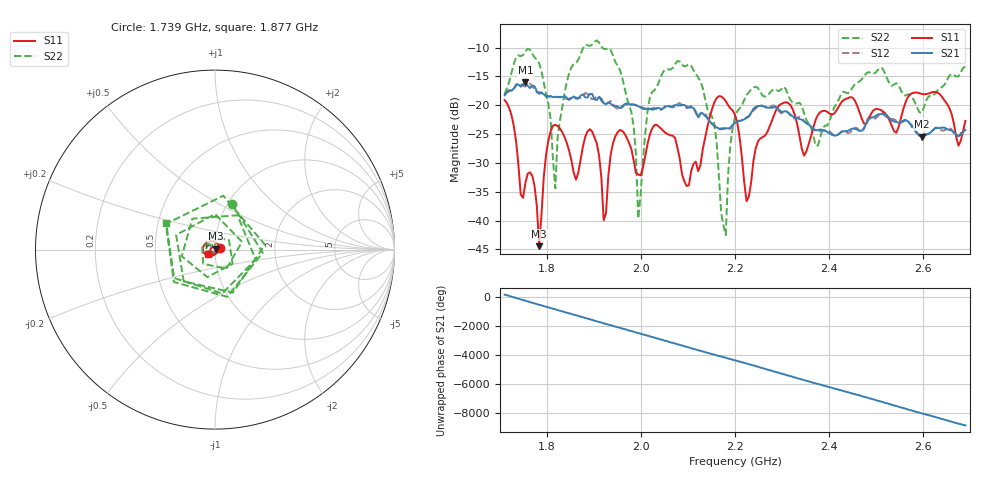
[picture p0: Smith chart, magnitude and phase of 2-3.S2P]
!Agilent Technologies,E5061B,MY49305579,A.02.22
!Date: Thu Aug 24 16:27:26 2017
!Data & Calibration Information:
!Freq	S11:SOLT2(ON)	S21:SOLT2(ON)	S12:SOLT2(ON)	S22:SOLT2(ON)
# Hz S dB R 50
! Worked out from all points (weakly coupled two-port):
!   201 points, 1.71 GHz to 2.69 GHz, reference 50 ohm
!   highest |S21| = -16.03 dB at 1.754 GHz (marker M1); lowest = -25.4 dB at 2.597 GHz (marker M2)
!   lowest |S11| = -44.4 dB at 1.784 GHz (marker M3), VSWR 1.01, Z = 50.4 + j0.449 ohm
!   |S11| at or under -10 dB: start of sweep to end of sweep
!   |S22| runs from -42.5 to -8.8 dB; largest |S21 - S12| = 0.014
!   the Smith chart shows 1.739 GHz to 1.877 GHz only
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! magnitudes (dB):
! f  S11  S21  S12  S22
! 1.71 GHz  -19.1  -18.3  -18.2  -18.1
! 1.754 GHz  -33.5  -16.0  -16.7  -10.7
! 1.784 GHz  -44.4  -18.0  -17.7  -12.7
! 1.818 GHz  -23.4  -18.6  -18.5  -34.4
! 1.842 GHz  -26.5  -18.7  -18.9  -16.0
! 1.877 GHz  -27.1  -18.1  -18.3  -10.1
! 1.906 GHz  -26.6  -19.1  -18.5  -8.8
! 1.921 GHz  -39.9  -19.6  -19.8  -10.2
! 1.955 GHz  -24.3  -20.5  -20.5  -13.8
! 1.984 GHz  -29.5  -19.9  -19.9  -23.6
! 1.994 GHz  -32.0  -20.2  -20.1  -39.7
! 2.014 GHz  -26.8  -20.6  -20.7  -21.2
! 2.038 GHz  -23.7  -20.5  -20.8  -15.9
! 2.127 GHz  -30.4  -21.4  -21.5  -15.8
! 2.18 GHz  -19.3  -24.0  -24.1  -42.5
! 2.2 GHz  -21.7  -23.1  -23.0  -22.1
! 2.224 GHz  -36.6  -22.2  -22.1  -18.2
! 2.293 GHz  -20.1  -20.7  -21.0  -17.5
! 2.367 GHz  -23.9  -24.1  -24.1  -25.3
! 2.528 GHz  -22.6  -22.3  -22.3  -16.2
! 2.597 GHz  -18.0  -25.4  -25.0  -21.3
! 2.69 GHz  -22.7  -24.3  -24.2  -13.3
